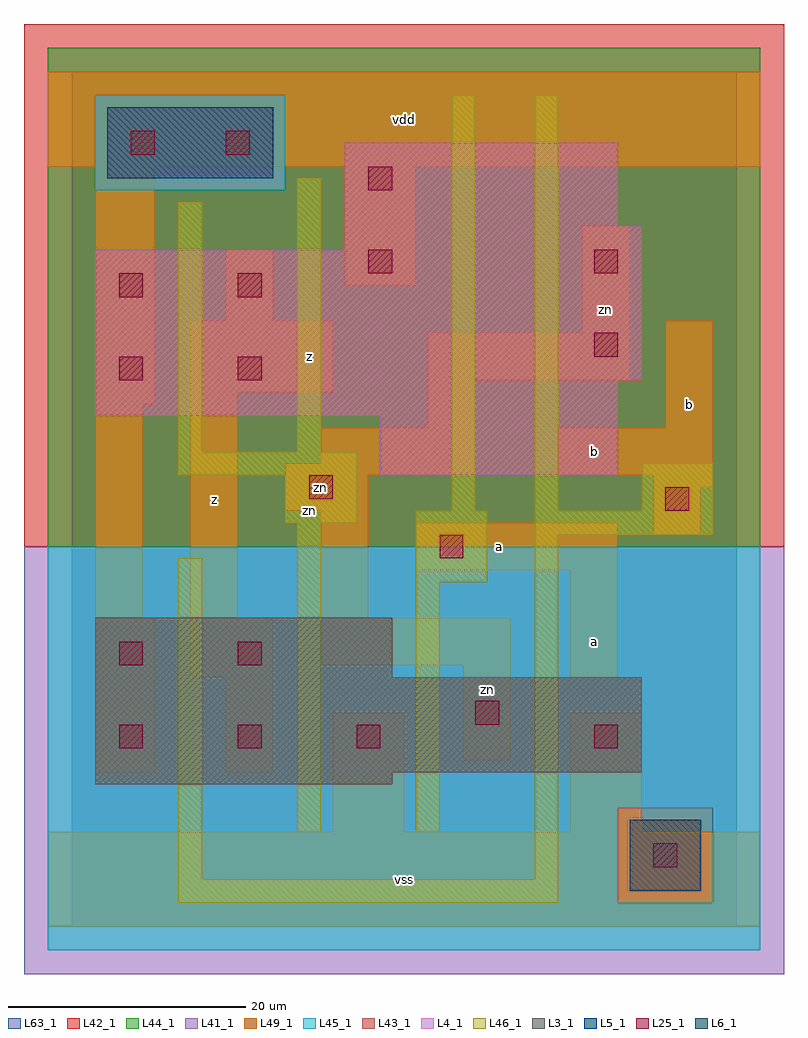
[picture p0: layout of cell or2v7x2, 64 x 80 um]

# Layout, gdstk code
import gdstk
lib = gdstk.Library(unit=1e-6, precision=1e-09)
def R(c, l, rs):  # rectangles x0, y0, x1, y1
    for r in rs: c.add(gdstk.rectangle(r[:2], r[2:], *l))
def A(c, l, x, y, w, h, nx, ny, dx, dy):  # array of equal rectangles
    R(c, l, [(x+i*dx, y+j*dy, x+i*dx+w, y+j*dy+h) for i in range(nx) for j in range(ny)])
L3_1 = (3, 1)
L4_1 = (4, 1)
L5_1 = (5, 1)
L6_1 = (6, 1)
L25_1 = (25, 1)
L41_1 = (41, 1)
L42_1 = (42, 1)
L43_1 = (43, 1)
L44_1 = (44, 1)
L45_1 = (45, 1)
L46_1 = (46, 1)
L49_1 = (49, 1)
L63_1 = (63, 1)

or2v7x2 = lib.new_cell('or2v7x2')
R(or2v7x2, L3_1, [(2,12,27,13), (2,13,48,21), (2,21,27,26)])
R(or2v7x2, L4_1, [(26,38,46,43), (2,43,46,46), (2,46,48,57), (23,57,48,59), (23,59,46,66)])
R(or2v7x2, L5_1, [(3,63,17,69)])
R(or2v7x2, L6_1, [(47,3,53,9), (47,3,53,9)])
A(or2v7x2, L25_1, 4, 15, 2, 2, 3, 1, 10, 0)
R(or2v7x2, L25_1, [(49,5,51,7), (44,15,46,17), (34,17,36,19), (4,22,6,24), (14,22,16,24), (31,31,33,33), (50,35,52,37), (20,36,22,38), (4,46,6,48), (14,46,16,48), (44,48,46,50), (4,53,6,55), (14,53,16,55), (25,55,27,57), (44,55,46,57), (25,62,27,64), (5,65,7,67), (13,65,15,67)])
R(or2v7x2, L41_1, [(-4,-4,60,32)])
R(or2v7x2, L42_1, [(-4,32,60,76)])
R(or2v7x2, L43_1, [(47,3,53,9), (2,12,27,13), (2,13,48,21), (2,21,27,26), (26,38,46,43), (2,43,46,46), (2,46,48,57), (23,57,48,59), (23,59,46,66), (3,63,17,69)])
R(or2v7x2, L44_1, [(46,2,54,10), (-2,32,58,62), (-2,62,2,70), (18,62,58,70), (-2,70,58,74)])
R(or2v7x2, L45_1, [(-2,-2,58,2), (-2,2,46,10), (54,2,58,10), (-2,10,58,32), (2,62,18,70)])
R(or2v7x2, L46_1, [(9,2,41,4), (9,4,11,31), (39,4,41,33), (19,8,21,34), (29,8,31,29), (29,29,35,35), (39,33,54,35), (18,34,24,38), (32,35,34,70), (39,35,41,70), (48,35,54,39), (9,38,24,40), (9,40,11,61), (19,40,21,63)])
R(or2v7x2, L49_1, [(-2,0,58,8), (22,8,28,18), (42,8,48,18), (2,13,7,26), (13,13,17,21), (33,14,37,22), (10,21,17,26), (42,21,46,30), (21,22,37,26), (2,26,6,44), (10,26,14,45), (21,26,25,35), (29,30,46,34), (49,33,53,37), (18,35,25,38), (49,37,54,38), (18,38,34,39), (41,38,54,42), (21,39,34,42), (30,42,34,46), (50,42,54,51), (2,44,7,64), (10,45,22,51), (30,46,47,50), (43,50,47,59), (13,51,17,57), (23,54,29,64), (-2,64,58,72)])
R(or2v7x2, L63_1, [(0,0,56,72)])
or2v7x2.add(gdstk.Label('zn', (20,35), layer=46, texttype=1))
or2v7x2.add(gdstk.Label('zn', (21,37), layer=49, texttype=1))
or2v7x2.add(gdstk.Label('z', (12,36), layer=49, texttype=1))
or2v7x2.add(gdstk.Label('z', (20,48), layer=49, texttype=1))
or2v7x2.add(gdstk.Label('vss', (28,4), layer=49, texttype=1))
or2v7x2.add(gdstk.Label('zn', (35,20), layer=49, texttype=1))
or2v7x2.add(gdstk.Label('a', (36,32), layer=49, texttype=1))
or2v7x2.add(gdstk.Label('vdd', (28,68), layer=49, texttype=1))
or2v7x2.add(gdstk.Label('a', (44,24), layer=49, texttype=1))
or2v7x2.add(gdstk.Label('b', (44,40), layer=49, texttype=1))
or2v7x2.add(gdstk.Label('b', (52,44), layer=49, texttype=1))
or2v7x2.add(gdstk.Label('zn', (45,52), layer=49, texttype=1))

lib.write_gds('or2v7x2.gds')
